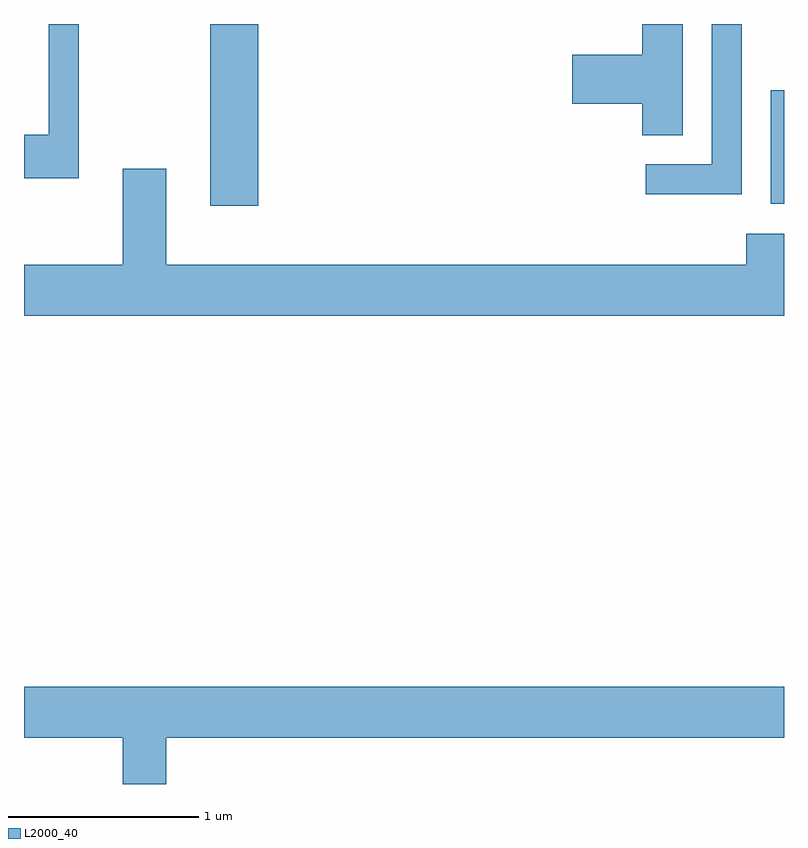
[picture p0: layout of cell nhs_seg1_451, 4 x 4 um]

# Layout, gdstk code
import gdstk
lib = gdstk.Library(unit=1e-6, precision=1e-09)
def R(c, l, rs):  # rectangles x0, y0, x1, y1
    for r in rs: c.add(gdstk.rectangle(r[:2], r[2:], *l))
def P(c, l, *ps):  # polygons
    for p in ps: c.add(gdstk.Polygon(p, *l))
L2000_40 = (2000, 40)

nhs_seg1_451 = lib.new_cell('nhs_seg1_451')
R(nhs_seg1_451, L2000_40, [(198.591,966.756,198.844,967.712), (201.541,966.766,201.611,967.364)])
P(nhs_seg1_451, L2000_40, [(201.389,967.712),(201.231,967.712),(201.231,966.974),(200.883,966.974),(200.883,966.816),(201.389,966.816)],
  [(201.079,967.712),(200.866,967.712),(200.866,967.549),(200.496,967.549),(200.496,967.291),(200.866,967.291),(200.866,967.126),(201.079,967.126)],
  [(197.899,967.712),(197.741,967.712),(197.741,967.129),(197.611,967.129),(197.611,966.901),(197.899,966.901)],
  [(201.611,966.609),(201.411,966.609),(201.411,966.444),(198.359,966.444),(198.359,966.949),(198.131,966.949),(198.131,966.444),(197.611,966.444),(197.611,966.176),(201.611,966.176)],
  [(198.359,963.956),(201.611,963.956),(201.611,964.224),(197.611,964.224),(197.611,963.956),(198.131,963.956),(198.131,963.712),(198.359,963.712)])

lib.write_gds('nhs_seg1_451.gds')
